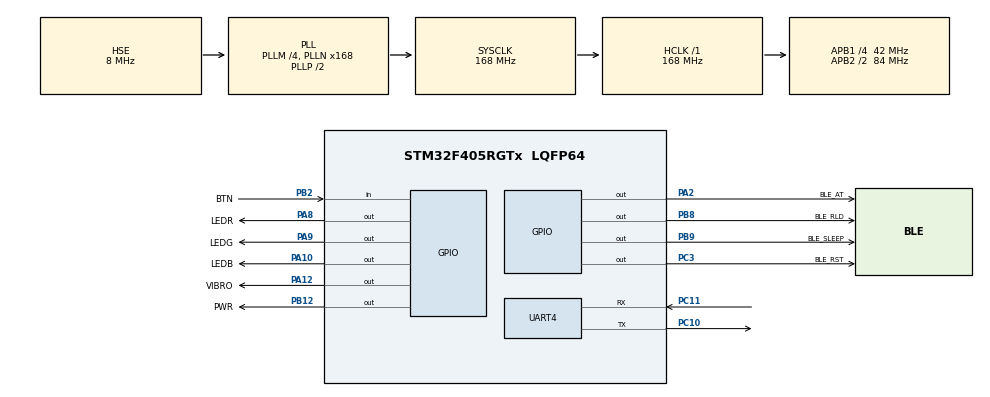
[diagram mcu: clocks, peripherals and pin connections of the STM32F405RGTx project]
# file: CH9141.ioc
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Mcu.Family=STM32F4
Mcu.Name=STM32F405RGTx
Mcu.Package=LQFP64
NVIC.PriorityGroup=NVIC_PRIORITYGROUP_4
NVIC.UART4_IRQn=true\:0\:0\:false\:false\:true\:true\:true\:true
PA10.GPIO_Label=LEDB
PA10.GPIO_ModeDefaultOutputPP=GPIO_MODE_OUTPUT_OD
PA10.GPIO_PuPd=GPIO_NOPULL
PA10.PinState=GPIO_PIN_SET
PA10.Signal=GPIO_Output
PA12.GPIO_Label=VIBRO
PA12.GPIO_ModeDefaultOutputPP=GPIO_MODE_OUTPUT_OD
PA12.GPIO_PuPd=GPIO_NOPULL
PA12.PinState=GPIO_PIN_SET
PA12.Signal=GPIO_Output
PA13.Mode=Serial_Wire
PA13.Signal=SYS_JTMS-SWDIO
PA14.Mode=Serial_Wire
PA14.Signal=SYS_JTCK-SWCLK
PA2.GPIO_Label=BLE_AT
PA2.GPIO_ModeDefaultOutputPP=GPIO_MODE_OUTPUT_OD
PA2.GPIO_PuPd=GPIO_PULLUP
PA2.GPIO_Speed=GPIO_SPEED_FREQ_VERY_HIGH
PA2.PinState=GPIO_PIN_SET
PA2.Signal=GPIO_Output
PA8.GPIO_Label=LEDR
PA8.GPIO_ModeDefaultOutputPP=GPIO_MODE_OUTPUT_OD
PA8.GPIO_PuPd=GPIO_NOPULL
PA8.PinState=GPIO_PIN_SET
PA8.Signal=GPIO_Output
PA9.GPIO_Label=LEDG
PA9.GPIO_ModeDefaultOutputPP=GPIO_MODE_OUTPUT_OD
PA9.GPIO_PuPd=GPIO_NOPULL
PA9.PinState=GPIO_PIN_SET
PA9.Signal=GPIO_Output
PB12.GPIO_Label=PWR
PB12.GPIO_ModeDefaultOutputPP=GPIO_MODE_OUTPUT_OD
PB12.GPIO_PuPd=GPIO_NOPULL
PB12.PinState=GPIO_PIN_SET
PB12.Signal=GPIO_Output
PB2.GPIO_Label=BTN
PB2.GPIO_PuPd=GPIO_PULLUP
PB2.Signal=GPIO_Input
PB8.GPIO_Label=BLE_RLD
PB8.GPIO_ModeDefaultOutputPP=GPIO_MODE_OUTPUT_OD
PB8.GPIO_PuPd=GPIO_PULLUP
PB8.GPIO_Speed=GPIO_SPEED_FREQ_LOW
PB8.PinState=GPIO_PIN_SET
PB8.Signal=GPIO_Output
PB9.GPIO_Label=BLE_SLEEP
PB9.GPIO_ModeDefaultOutputPP=GPIO_MODE_OUTPUT_PP
PB9.GPIO_PuPd=GPIO_NOPULL
PB9.GPIO_Speed=GPIO_SPEED_FREQ_LOW
PB9.PinState=GPIO_PIN_RESET
PB9.Signal=GPIO_Output
PC10.Mode=Asynchronous
PC10.Signal=UART4_TX
PC11.Mode=Asynchronous
PC11.Signal=UART4_RX
PC3.GPIO_Label=BLE_RST
PC3.GPIO_ModeDefaultOutputPP=GPIO_MODE_OUTPUT_OD
PC3.GPIO_PuPd=GPIO_PULLUP
PC3.GPIO_Speed=GPIO_SPEED_FREQ_LOW
PC3.PinState=GPIO_PIN_SET
PC3.Signal=GPIO_Output
PH0-OSC_IN.Mode=HSE-External-Oscillator
PH0-OSC_IN.Signal=RCC_OSC_IN
PH1-OSC_OUT.Mode=HSE-External-Oscillator
PH1-OSC_OUT.Signal=RCC_OSC_OUT
ProjectManager.HeapSize=0x200
ProjectManager.StackSize=0x400
ProjectManager.TargetToolchain=EWARM V8.50
RCC.48MHZClocksFreq_Value=84000000
RCC.AHBFreq_Value=168000000
RCC.APB1CLKDivider=RCC_HCLK_DIV4
RCC.APB1Freq_Value=42000000
RCC.APB1TimFreq_Value=84000000
RCC.APB2CLKDivider=RCC_HCLK_DIV2
RCC.APB2Freq_Value=84000000
RCC.APB2TimFreq_Value=168000000
RCC.CortexFreq_Value=168000000
RCC.HCLKFreq_Value=168000000
RCC.HSE_VALUE=8000000
RCC.HSI_VALUE=16000000
RCC.LSE_VALUE=32768
RCC.PLLM=4
RCC.PLLN=168
RCC.PLLSourceVirtual=RCC_PLLSOURCE_HSE
RCC.SYSCLKFreq_VALUE=168000000
RCC.SYSCLKSource=RCC_SYSCLKSOURCE_PLLCLK
RCC.VCOOutputFreq_Value=336000000
UART4.VirtualMode=Asynchronous
board=custom

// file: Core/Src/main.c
/* USER CODE BEGIN Header */
/**
 ******************************************************************************
 * @file           : main.c
 * @brief          : Main program body
 ******************************************************************************
 * @attention
 *
 * Copyright (c) 2024 STMicroelectronics.
 * All rights reserved.
 *
 * This software is licensed under terms that can be found in the LICENSE file
 * in the root directory of this software component.
 * If no LICENSE file comes with this software, it is provided AS-IS.
 *
 ******************************************************************************
 */
/* USER CODE END Header */
#include "main.h"
#include "gpio.h"
#include "usart.h"

/* USER CODE BEGIN Includes */
#include "ch9141_demo.h"
/* USER CODE END Includes */

/* USER CODE BEGIN PV */
static ch9141_t ch9141;
/* USER CODE END PV */

void SystemClock_Config(void);

int main(void)
{

    /* MCU Configuration--------------------------------------------------------*/

    /* Reset of all peripherals, Initializes the Flash interface and the Systick. */
    HAL_Init();

    /* Configure the system clock */
    SystemClock_Config();

    /* Initialize all configured peripherals */
    MX_GPIO_Init();
    MX_UART4_Init();
    /* USER CODE BEGIN 2 */
    LEDG_ON;
    HAL_Delay(500);
    PWR_ON;
    // CH9141_Demo();
    if (CH9141_SetUp(&ch9141) == ERROR)
        Error_Handler();
    LEDG_OFF;
    /* USER CODE END 2 */

    /* Infinite loop */
    /* USER CODE BEGIN WHILE */
    while (1)
    {
        static char msg[50];

        HAL_UARTEx_ReceiveToIdle_IT(&huart4, (uint8_t *) msg, sizeof(msg));
        if (memcmp(msg, "LEDR", 4) == 0)
        {
            LEDR_ON, LEDG_OFF, LEDB_OFF;
            HAL_UART_Transmit_IT(&huart4, "OK Red", 6);
            memset(msg, '\0', sizeof(msg));
        }
        else if (memcmp(msg, "LEDG", 4) == 0)
        {
            LEDR_OFF, LEDG_ON, LEDB_OFF;
            HAL_UART_Transmit_IT(&huart4, "OK Green", 8);
            memset(msg, '\0', sizeof(msg));
        }
        else if (memcmp(msg, "LEDB", 4) == 0)
        {
            LEDR_OFF, LEDG_OFF, LEDB_ON;
            HAL_UART_Transmit_IT(&huart4, "OK Blue", 7);
            memset(msg, '\0', sizeof(msg));
        }
        else if (memcmp(msg, "DISA", 4) == 0)
        {
            LEDR_OFF, LEDG_OFF, LEDB_OFF;
            HAL_UART_Transmit_IT(&huart4, "OK Disable", 10);
            memset(msg, '\0', sizeof(msg));
        }
        else if (memcmp(msg, "POWF", 4) == 0)
        {
            HAL_UART_Transmit_IT(&huart4, "OK Power Off", 10);
            HAL_Delay(3000);
            PWR_OFF;
        }

        if (BTN_CHECK == GPIO_PIN_RESET)
            PWR_OFF;
        /* USER CODE END WHILE */

    }
}

void SystemClock_Config(void)
{
    RCC_OscInitTypeDef RCC_OscInitStruct = {0};
    RCC_ClkInitTypeDef RCC_ClkInitStruct = {0};

    /** Configure the main internal regulator output voltage
     */
    __HAL_RCC_PWR_CLK_ENABLE();
    __HAL_PWR_VOLTAGESCALING_CONFIG(PWR_REGULATOR_VOLTAGE_SCALE1);

    /** Initializes the RCC Oscillators according to the specified parameters
     * in the RCC_OscInitTypeDef structure.
     */
    RCC_OscInitStruct.OscillatorType = RCC_OSCILLATORTYPE_HSE;
    RCC_OscInitStruct.HSEState = RCC_HSE_ON;
    RCC_OscInitStruct.PLL.PLLState = RCC_PLL_ON;
    RCC_OscInitStruct.PLL.PLLSource = RCC_PLLSOURCE_HSE;
    RCC_OscInitStruct.PLL.PLLM = 4;
    RCC_OscInitStruct.PLL.PLLN = 168;
    RCC_OscInitStruct.PLL.PLLP = RCC_PLLP_DIV2;
    RCC_OscInitStruct.PLL.PLLQ = 4;
    if (HAL_RCC_OscConfig(&RCC_OscInitStruct) != HAL_OK)
        Error_Handler();

    /** Initializes the CPU, AHB and APB buses clocks
     */
    RCC_ClkInitStruct.ClockType = RCC_CLOCKTYPE_HCLK | RCC_CLOCKTYPE_SYSCLK | RCC_CLOCKTYPE_PCLK1 | RCC_CLOCKTYPE_PCLK2;
    RCC_ClkInitStruct.SYSCLKSource = RCC_SYSCLKSOURCE_PLLCLK;
    RCC_ClkInitStruct.AHBCLKDivider = RCC_SYSCLK_DIV1;
    RCC_ClkInitStruct.APB1CLKDivider = RCC_HCLK_DIV4;
    RCC_ClkInitStruct.APB2CLKDivider = RCC_HCLK_DIV2;

    if (HAL_RCC_ClockConfig(&RCC_ClkInitStruct, FLASH_LATENCY_5) != HAL_OK)
        Error_Handler();
}

void Error_Handler(void)
{
    /* USER CODE BEGIN Error_Handler_Debug */
    /* User can add his own implementation to report the HAL error return state */
    __disable_irq();
    LEDR_ON;
    LEDG_OFF;
    LEDB_OFF;
    while (1) {}
    /* USER CODE END Error_Handler_Debug */
}
